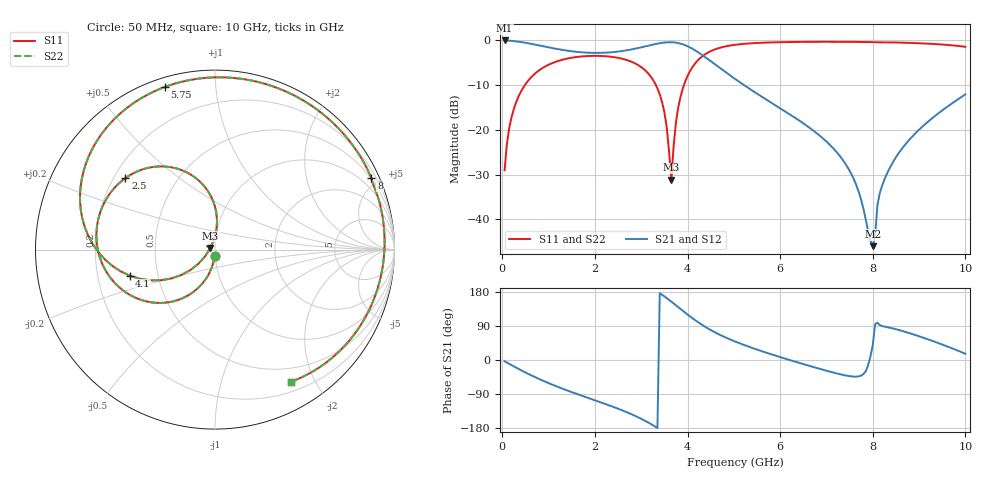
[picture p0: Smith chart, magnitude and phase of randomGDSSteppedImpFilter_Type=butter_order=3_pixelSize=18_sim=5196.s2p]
! freq	dB(S11)	phase(S11)	dB(S12)	phase(S12)
!  dB(S21)	phase(S21)	dB(S22)	phase(S22)
!S-par simulation data
#  GHz  S  DB  R 50
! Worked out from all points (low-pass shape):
!   200 points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, 50 MHz to 10 GHz, reference 50 ohm
!   highest |S21| = -0.01 dB at 50 MHz (marker M1); lowest = -46.0 dB at 8 GHz (marker M2)
!   |S21| within 3 dB of the highest: start of sweep to 4.281 GHz
!   lowest |S11| = -31.1 dB at 3.65 GHz (marker M3), VSWR 1.06, Z = 47.5 + j0.926 ohm
!   |S11| at or under -10 dB: start of sweep to 487.4 MHz; 3.317 GHz to 3.922 GHz (605.4 MHz wide, 16.7 % of centre)
!   |S22| runs from -31.1 to -0.3 dB; largest |S21 - S12| = 0
!   S11 on the Smith chart (normalised r, x): 50 MHz: 0.99, -0.07; 2.5 GHz: 0.25, +0.33; 4.1 GHz: 0.34, -0.13; 5.75 GHz: 0.04, +0.74; 8 GHz: 0.48, +4.56; 10 GHz: 0.32, -1.69
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0.05  -29.02 -93.6  -0.01 -3.4  -0.01 -3.4  -29.02 -93.6
0.2  -17.13 -104.0  -0.10 -13.6  -0.10 -13.6  -17.13 -104.0
0.5  -9.80 -123.5  -0.53 -32.9  -0.53 -32.9  -9.80 -123.5
1  -5.43 -151.6  -1.55 -61.1  -1.55 -61.1  -5.43 -151.6
1.75  -3.55 173.9  -2.68 -95.6  -2.68 -95.6  -3.55 173.9
2.5  -3.89 141.5  -2.50 -128.5  -2.50 -128.5  -3.89 141.5
3  -5.96 115.7  -1.55 -155.1  -1.55 -155.1  -5.96 115.7
3.4  -12.05 90.6  -0.62 176.3  -0.62 176.3  -12.05 90.7
3.55  -19.33 86.0  -0.43 163.3  -0.43 163.3  -19.32 86.1
3.65  -31.12 159.4  -0.41 154.0  -0.41 154.0  -31.06 159.4
3.8  -14.95 -140.2  -0.60 139.5  -0.60 139.5  -14.95 -140.3
4.1  -6.06 -163.1  -1.83 110.8  -1.83 110.8  -6.06 -163.1
4.5  -2.40 166.9  -4.63 79.1  -4.63 79.1  -2.40 166.9
5.05  -0.95 136.5  -8.78 47.6  -8.78 47.6  -0.95 136.5
5.75  -0.46 107.2  -13.53 17.3  -13.53 17.3  -0.46 107.1
6.7  -0.31 72.3  -20.02 -18.0  -20.02 -18.0  -0.31 72.3
7.55  -0.32 41.5  -30.11 -43.4  -30.11 -43.4  -0.32 41.5
8  -0.38 24.5  -45.96 39.1  -45.96 39.1  -0.38 24.4
8.15  -0.41 19.0  -34.19 92.2  -34.19 92.2  -0.41 19.0
8.35  -0.43 11.3  -28.83 85.7  -28.83 85.7  -0.43 11.2
9.15  -0.70 -21.3  -18.54 56.3  -18.54 56.3  -0.70 -21.3
10  -1.42 -60.0  -12.04 16.5  -12.04 16.5  -1.42 -60.0
